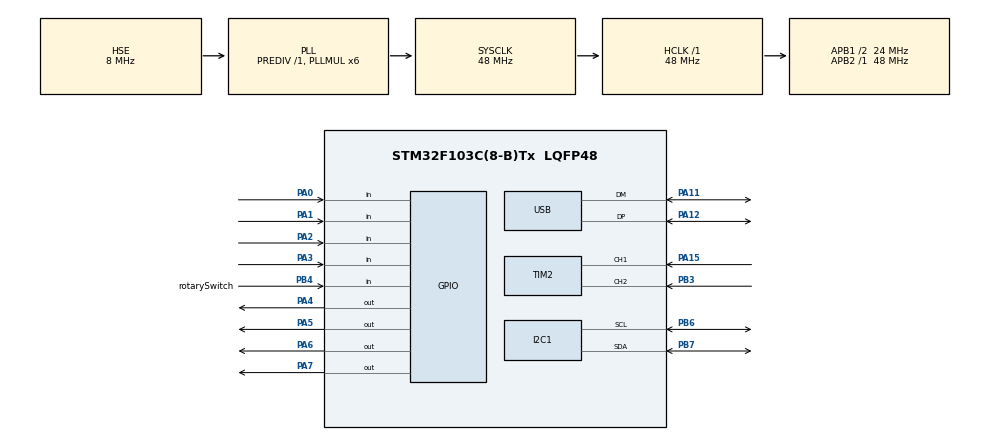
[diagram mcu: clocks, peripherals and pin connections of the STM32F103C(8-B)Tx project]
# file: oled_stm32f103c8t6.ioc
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I2C1.I2C_Mode=I2C_Fast
Mcu.Family=STM32F1
Mcu.Name=STM32F103C(8-B)Tx
Mcu.Package=LQFP48
NVIC.PriorityGroup=NVIC_PRIORITYGROUP_4
NVIC.USB_LP_CAN1_RX0_IRQn=true\:0\:0\:false\:false\:true\:false\:true\:true
PA0-WKUP.GPIO_PuPd=GPIO_PULLUP
PA0-WKUP.Signal=GPIO_Input
PA1.GPIO_PuPd=GPIO_PULLUP
PA1.Signal=GPIO_Input
PA11.Mode=Device
PA11.Signal=USB_DM
PA12.Mode=Device
PA12.Signal=USB_DP
PA13.Mode=Serial_Wire
PA13.Signal=SYS_JTMS-SWDIO
PA14.Mode=Serial_Wire
PA14.Signal=SYS_JTCK-SWCLK
PA15.Signal=S_TIM2_CH1_ETR
PA2.GPIO_PuPd=GPIO_PULLUP
PA2.Signal=GPIO_Input
PA3.GPIO_PuPd=GPIO_PULLUP
PA3.Signal=GPIO_Input
PA4.Signal=GPIO_Output
PA5.Signal=GPIO_Output
PA6.Signal=GPIO_Output
PA7.Signal=GPIO_Output
PB3.Signal=S_TIM2_CH2
PB4.GPIO_Label=rotarySwitch
PB4.GPIO_PuPd=GPIO_NOPULL
PB4.Signal=GPIO_Input
PB6.Mode=I2C
PB6.Signal=I2C1_SCL
PB7.Mode=I2C
PB7.Signal=I2C1_SDA
PD0-OSC_IN.Mode=HSE-External-Oscillator
PD0-OSC_IN.Signal=RCC_OSC_IN
PD1-OSC_OUT.Mode=HSE-External-Oscillator
PD1-OSC_OUT.Signal=RCC_OSC_OUT
ProjectManager.HeapSize=0x200
ProjectManager.StackSize=0x400
ProjectManager.TargetToolchain=STM32CubeIDE
RCC.AHBFreq_Value=48000000
RCC.APB1CLKDivider=RCC_HCLK_DIV2
RCC.APB1Freq_Value=24000000
RCC.APB1TimFreq_Value=48000000
RCC.APB2Freq_Value=48000000
RCC.APB2TimFreq_Value=48000000
RCC.HCLKFreq_Value=48000000
RCC.PLLMUL=RCC_PLL_MUL6
RCC.PLLSourceVirtual=RCC_PLLSOURCE_HSE
RCC.SYSCLKFreq_VALUE=48000000
RCC.SYSCLKSource=RCC_SYSCLKSOURCE_PLLCLK
RCC.USBFreq_Value=48000000
SH.S_TIM2_CH1_ETR.0=TIM2_CH1,Encoder_Interface
SH.S_TIM2_CH2.0=TIM2_CH2,Encoder_Interface
TIM2.EncoderMode=TIM_ENCODERMODE_TI12
TIM2.IC1Filter=10
TIM2.IC2Filter=10
USB_DEVICE.CLASS_NAME_FS=HID
USB_DEVICE.VirtualMode=Hid
USB_DEVICE.VirtualModeFS=Hid_FS
VP_USB_DEVICE_VS_USB_DEVICE_HID_FS.Mode=HID_FS
board=custom

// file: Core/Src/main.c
/* USER CODE BEGIN Header */
/**
 ******************************************************************************
 * @file           : main.c
 * @brief          : Main program body
 ******************************************************************************
 * @attention
 *
 * Copyright (c) 2022 STMicroelectronics.
 * All rights reserved.
 *
 * This software is licensed under terms that can be found in the LICENSE file
 * in the root directory of this software component.
 * If no LICENSE file comes with this software, it is provided AS-IS.
 *
 ******************************************************************************
 */
/* USER CODE END Header */
#include "main.h"
#include "usb_device.h"

/* USER CODE BEGIN Includes */
#include "fonts.h"
#include "ssd1306.h"
#include "test.h"
#include "bitmap.h"
#include "horse_anim.h"
#include <ctype.h>
#include <stdio.h>
#include <stdbool.h>
#include "usbd_hid.h"
/* USER CODE END Includes */

 I2C_HandleTypeDef hi2c1;

TIM_HandleTypeDef htim2;

/* USER CODE BEGIN PV */
I2C_HandleTypeDef hi2c1;
int i;
GPIO_InitTypeDef GPIO_InitStructPrivate = { 0 };
volatile uint16_t adim_sayisi=0;
/* USER CODE END PV */

void SystemClock_Config(void);
static void MX_GPIO_Init(void);
static void MX_I2C1_Init(void);
static void MX_TIM2_Init(void);

/* USER CODE BEGIN 0 */
extern USBD_HandleTypeDef hUsbDeviceFS;
typedef struct
{
	uint8_t MODIFIER;
	uint8_t RESERVED;
	uint8_t KEYCODE1;
	uint8_t KEYCODE2;
	uint8_t KEYCODE3;
	uint8_t KEYCODE4;
	uint8_t KEYCODE5;
	uint8_t KEYCODE6;
} keyboardHID;

keyboardHID keyboardhid = {0,0,0,0,0,0,0,0};

/*************************************** KEYPAD RELATED CODE STARTS HERE *********************************/
#define R1_PORT GPIOA
#define R1_PIN GPIO_PIN_7

#define R2_PORT GPIOA
#define R2_PIN GPIO_PIN_6

#define R3_PORT GPIOA
#define R3_PIN GPIO_PIN_5

#define R4_PORT GPIOA
#define R4_PIN GPIO_PIN_4

#define C1_PORT GPIOA
#define C1_PIN GPIO_PIN_3

#define C2_PORT GPIOA
#define C2_PIN GPIO_PIN_2

#define C3_PORT GPIOA
#define C3_PIN GPIO_PIN_1

#define C4_PORT GPIOA
#define C4_PIN GPIO_PIN_0

uint8_t key;

char read_keypad (void)
{
	/* Make ROW 1 LOW and all other ROWs HIGH */
	HAL_GPIO_WritePin (R1_PORT, R1_PIN, GPIO_PIN_RESET);  //Pull the R1 low
	HAL_GPIO_WritePin (R2_PORT, R2_PIN, GPIO_PIN_SET);  // Pull the R2 High
	HAL_GPIO_WritePin (R3_PORT, R3_PIN, GPIO_PIN_SET);  // Pull the R3 High
	HAL_GPIO_WritePin (R4_PORT, R4_PIN, GPIO_PIN_SET);  // Pull the R4 High

	if (!(HAL_GPIO_ReadPin (C1_PORT, C1_PIN)))   // if the Col 1 is low
	{
		while (!(HAL_GPIO_ReadPin (C1_PORT, C1_PIN)));   // wait till the button is pressed
		return '1';
	}

	if (!(HAL_GPIO_ReadPin (C2_PORT, C2_PIN)))   // if the Col 2 is low
	{
		while (!(HAL_GPIO_ReadPin (C2_PORT, C2_PIN)));   // wait till the button is pressed
		return '2';
	}

	if (!(HAL_GPIO_ReadPin (C3_PORT, C3_PIN)))   // if the Col 3 is low
	{
		while (!(HAL_GPIO_ReadPin (C3_PORT, C3_PIN)));   // wait till the button is pressed
		return '3';
	}

	if (!(HAL_GPIO_ReadPin (C4_PORT, C4_PIN)))   // if the Col 4 is low
	{
		while (!(HAL_GPIO_ReadPin (C4_PORT, C4_PIN)));   // wait till the button is pressed
		return 'A';
	}

	/* Make ROW 2 LOW and all other ROWs HIGH */
	HAL_GPIO_WritePin (R1_PORT, R1_PIN, GPIO_PIN_SET);  //Pull the R1 low
	HAL_GPIO_WritePin (R2_PORT, R2_PIN, GPIO_PIN_RESET);  // Pull the R2 High
	HAL_GPIO_WritePin (R3_PORT, R3_PIN, GPIO_PIN_SET);  // Pull the R3 High
	HAL_GPIO_WritePin (R4_PORT, R4_PIN, GPIO_PIN_SET);  // Pull the R4 High

	if (!(HAL_GPIO_ReadPin (C1_PORT, C1_PIN)))   // if the Col 1 is low
	{
		while (!(HAL_GPIO_ReadPin (C1_PORT, C1_PIN)));   // wait till the button is pressed
		return '4';
	}

	if (!(HAL_GPIO_ReadPin (C2_PORT, C2_PIN)))   // if the Col 2 is low
	{
		while (!(HAL_GPIO_ReadPin (C2_PORT, C2_PIN)));   // wait till the button is pressed
		return '5';
	}

	if (!(HAL_GPIO_ReadPin (C3_PORT, C3_PIN)))   // if the Col 3 is low
	{
		while (!(HAL_GPIO_ReadPin (C3_PORT, C3_PIN)));   // wait till the button is pressed
		return '6';
	}

	if (!(HAL_GPIO_ReadPin (C4_PORT, C4_PIN)))   // if the Col 4 is low
	{
		while (!(HAL_GPIO_ReadPin (C4_PORT, C4_PIN)));   // wait till the button is pressed
		return 'B';
	}

	/* Make ROW 3 LOW and all other ROWs HIGH */
	HAL_GPIO_WritePin (R1_PORT, R1_PIN, GPIO_PIN_SET);  //Pull the R1 low
	HAL_GPIO_WritePin (R2_PORT, R2_PIN, GPIO_PIN_SET);  // Pull the R2 High
	HAL_GPIO_WritePin (R3_PORT, R3_PIN, GPIO_PIN_RESET);  // Pull the R3 High
	HAL_GPIO_WritePin (R4_PORT, R4_PIN, GPIO_PIN_SET);  // Pull the R4 High

	if (!(HAL_GPIO_ReadPin (C1_PORT, C1_PIN)))   // if the Col 1 is low
	{
		while (!(HAL_GPIO_ReadPin (C1_PORT, C1_PIN)));   // wait till the button is pressed
		return '7';
	}

	if (!(HAL_GPIO_ReadPin (C2_PORT, C2_PIN)))   // if the Col 2 is low
	{
		while (!(HAL_GPIO_ReadPin (C2_PORT, C2_PIN)));   // wait till the button is pressed
		return '8';
	}

	if (!(HAL_GPIO_ReadPin (C3_PORT, C3_PIN)))   // if the Col 3 is low
	{
		while (!(HAL_GPIO_ReadPin (C3_PORT, C3_PIN)));   // wait till the button is pressed
		return '9';
	}

	if (!(HAL_GPIO_ReadPin (C4_PORT, C4_PIN)))   // if the Col 4 is low
	{
		while (!(HAL_GPIO_ReadPin (C4_PORT, C4_PIN)));   // wait till the button is pressed
		return 'C';
	}

	/* Make ROW 4 LOW and all other ROWs HIGH */
	HAL_GPIO_WritePin (R1_PORT, R1_PIN, GPIO_PIN_SET);  //Pull the R1 low
	HAL_GPIO_WritePin (R2_PORT, R2_PIN, GPIO_PIN_SET);  // Pull the R2 High
	HAL_GPIO_WritePin (R3_PORT, R3_PIN, GPIO_PIN_SET);  // Pull the R3 High
	HAL_GPIO_WritePin (R4_PORT, R4_PIN, GPIO_PIN_RESET);  // Pull the R4 High

	if (!(HAL_GPIO_ReadPin (C1_PORT, C1_PIN)))   // if the Col 1 is low
	{
		while (!(HAL_GPIO_ReadPin (C1_PORT, C1_PIN)));   // wait till the button is pressed
		return '*';
	}

	if (!(HAL_GPIO_ReadPin (C2_PORT, C2_PIN)))   // if the Col 2 is low
	{
		while (!(HAL_GPIO_ReadPin (C2_PORT, C2_PIN)));   // wait till the button is pressed
		return '0';
	}

	if (!(HAL_GPIO_ReadPin (C3_PORT, C3_PIN)))   // if the Col 3 is low
	{
		while (!(HAL_GPIO_ReadPin (C3_PORT, C3_PIN)));   // wait till the button is pressed
		return '#';
	}

	if (!(HAL_GPIO_ReadPin (C4_PORT, C4_PIN)))   // if the Col 4 is low
	{
		while (!(HAL_GPIO_ReadPin (C4_PORT, C4_PIN)));   // wait till the button is pressed
		return 'D';
	}
	else return 'x';
}

/* USER CODE END 0 */

int main(void)
{

  /* MCU Configuration--------------------------------------------------------*/

  /* Reset of all peripherals, Initializes the Flash interface and the Systick. */
  HAL_Init();

  /* Configure the system clock */
  SystemClock_Config();

  /* Initialize all configured peripherals */
  MX_GPIO_Init();
  MX_I2C1_Init();
  MX_USB_DEVICE_Init();
  MX_TIM2_Init();
  /* USER CODE BEGIN 2 */
  HAL_TIM_Encoder_Start(&htim2,TIM_CHANNEL_ALL);

//  for(i=100;i<255;i++){
//
//  	if(HAL_I2C_IsDeviceReady(&hi2c1,i,1,10000)==HAL_OK)
//  		break;
//  }

	SSD1306_Init(); // initialize the display
	SSD1306_GotoXY(0, 0);

	SSD1306_Clear();

	SSD1306_DrawBitmap(0, 0, logo, 128, 64, 1);
	SSD1306_UpdateScreen();

	HAL_Delay(5000);
	SSD1306_Clear();
  /* USER CODE END 2 */

  /* Infinite loop */
	while (1) {

    /* USER CODE BEGIN 3 */
		if(HAL_GPIO_ReadPin(rotarySwitch_GPIO_Port, rotarySwitch_Pin)==0)
			{
			adim_sayisi=0;
			}

		adim_sayisi= __HAL_TIM_GET_COUNTER(&htim2)>>2;

		key = read_keypad ();

			  if (key != 0x01){

			  if (key == '1')  keyboardhid.KEYCODE1 = 0x1E;
			  if (key == '2')  keyboardhid.KEYCODE1 = 0x1F;
			  if (key == '3')  keyboardhid.KEYCODE1 = 0x20;
			  if (key == '4')  keyboardhid.KEYCODE1 = 0x21;
			  if (key == '5')  keyboardhid.KEYCODE1 = 0x22;
			  if (key == '6')  keyboardhid.KEYCODE1 = 0x23;
			  if (key == '7')  keyboardhid.KEYCODE1 = 0x24;
			  if (key == '8')  keyboardhid.KEYCODE1 = 0x25;
			  if (key == '9')  keyboardhid.KEYCODE1 = 0x26;
			  if (key == '0')  keyboardhid.KEYCODE1 = 0x27;

			  if (key == 'A') //0x09, 0xE2, // Usage (Mute)
			  {
				  keyboardhid.MODIFIER = 0x02;  // left shift pressed
				 keyboardhid.KEYCODE1 =0x04 ;  // press 'a'
			  }
			  if (key == 'B')
			  {
				  keyboardhid.MODIFIER = 0x02;  // left shift pressed
				  keyboardhid.KEYCODE1 = 0x05;  // press 'a'
			  }
			  if (key == 'C')
			  {
				  keyboardhid.MODIFIER = 0x02;  // left shift pressed
				  keyboardhid.KEYCODE1 = 0x06;  // press 'a'
			  }
			  if (key == 'D')
			  {
				  keyboardhid.MODIFIER = 0x02;  // left shift pressed
				  keyboardhid.KEYCODE1 = 0x07;  // press 'a'
			  }

			  if (key == '*')
			  {
				  keyboardhid.MODIFIER = 0x02;  // left shift pressed
				  keyboardhid.KEYCODE1 = 0x25;  // press '*'
			  }

			  if (key == '#')
			  {
				  keyboardhid.MODIFIER = 0x02;  // left shift pressed
				  keyboardhid.KEYCODE1 = 0x20;  // press '#'
			  }

			  USBD_HID_SendReport(&hUsbDeviceFS, &keyboardhid, sizeof (keyboardhid));
			  HAL_Delay (50);
			  keyboardhid.MODIFIER = 0x00;  // shift release
			  keyboardhid.KEYCODE1 = 0x00;  // release key
			  USBD_HID_SendReport(&hUsbDeviceFS, &keyboardhid, sizeof (keyboardhid));
			  }

		//SSD1306_Clear();
		SSD1306_DrawLine(30, 0, 30, 64, 1);   // dik ayırma çizgisi
		SSD1306_DrawLine(30, 32, 128, 32, 1); // yatay ayırma çizgisi
		SSD1306_DrawBitmap(0, 32, MouseIcon, 28, 28, 1);
		SSD1306_DrawBitmap(30, 0, OrbitIcon, 24, 24, 1);
		SSD1306_GotoXY (0, 0);
		char mesaj[1];
		sprintf(mesaj,"%c",key);
		SSD1306_Puts(mesaj, &Font_11x18, 1);
		SSD1306_GotoXY (50, 0);
		char mesaj2[5];
				sprintf(mesaj2,"%d",adim_sayisi);
				SSD1306_Puts(mesaj2, &Font_11x18, 1);

//SSD1306_Puts(Char key,FontDef_t* Font_16x26, 1);
		SSD1306_UpdateScreen();

	}
  /* USER CODE END 3 */
}

void SystemClock_Config(void)
{
  RCC_OscInitTypeDef RCC_OscInitStruct = {0};
  RCC_ClkInitTypeDef RCC_ClkInitStruct = {0};
  RCC_PeriphCLKInitTypeDef PeriphClkInit = {0};

  /** Initializes the RCC Oscillators according to the specified parameters
  * in the RCC_OscInitTypeDef structure.
  */
  RCC_OscInitStruct.OscillatorType = RCC_OSCILLATORTYPE_HSE;
  RCC_OscInitStruct.HSEState = RCC_HSE_ON;
  RCC_OscInitStruct.HSEPredivValue = RCC_HSE_PREDIV_DIV1;
  RCC_OscInitStruct.HSIState = RCC_HSI_ON;
  RCC_OscInitStruct.PLL.PLLState = RCC_PLL_ON;
  RCC_OscInitStruct.PLL.PLLSource = RCC_PLLSOURCE_HSE;
  RCC_OscInitStruct.PLL.PLLMUL = RCC_PLL_MUL6;
  if (HAL_RCC_OscConfig(&RCC_OscInitStruct) != HAL_OK)
  {
    Error_Handler();
  }

  /** Initializes the CPU, AHB and APB buses clocks
  */
  RCC_ClkInitStruct.ClockType = RCC_CLOCKTYPE_HCLK|RCC_CLOCKTYPE_SYSCLK
                              |RCC_CLOCKTYPE_PCLK1|RCC_CLOCKTYPE_PCLK2;
  RCC_ClkInitStruct.SYSCLKSource = RCC_SYSCLKSOURCE_PLLCLK;
  RCC_ClkInitStruct.AHBCLKDivider = RCC_SYSCLK_DIV1;
  RCC_ClkInitStruct.APB1CLKDivider = RCC_HCLK_DIV2;
  RCC_ClkInitStruct.APB2CLKDivider = RCC_HCLK_DIV1;

  if (HAL_RCC_ClockConfig(&RCC_ClkInitStruct, FLASH_LATENCY_1) != HAL_OK)
  {
    Error_Handler();
  }
  PeriphClkInit.PeriphClockSelection = RCC_PERIPHCLK_USB;
  PeriphClkInit.UsbClockSelection = RCC_USBCLKSOURCE_PLL;
  if (HAL_RCCEx_PeriphCLKConfig(&PeriphClkInit) != HAL_OK)
  {
    Error_Handler();
  }
}

static void MX_I2C1_Init(void)
{

  hi2c1.Instance = I2C1;
  hi2c1.Init.ClockSpeed = 400000;
  hi2c1.Init.DutyCycle = I2C_DUTYCYCLE_2;
  hi2c1.Init.OwnAddress1 = 0;
  hi2c1.Init.AddressingMode = I2C_ADDRESSINGMODE_7BIT;
  hi2c1.Init.DualAddressMode = I2C_DUALADDRESS_DISABLE;
  hi2c1.Init.OwnAddress2 = 0;
  hi2c1.Init.GeneralCallMode = I2C_GENERALCALL_DISABLE;
  hi2c1.Init.NoStretchMode = I2C_NOSTRETCH_DISABLE;
  if (HAL_I2C_Init(&hi2c1) != HAL_OK)
  {
    Error_Handler();
  }

}

static void MX_TIM2_Init(void)
{

  TIM_Encoder_InitTypeDef sConfig = {0};
  TIM_MasterConfigTypeDef sMasterConfig = {0};

  htim2.Instance = TIM2;
  htim2.Init.Prescaler = 0;
  htim2.Init.CounterMode = TIM_COUNTERMODE_UP;
  htim2.Init.Period = 10;
  htim2.Init.ClockDivision = TIM_CLOCKDIVISION_DIV1;
  htim2.Init.AutoReloadPreload = TIM_AUTORELOAD_PRELOAD_DISABLE;
  sConfig.EncoderMode = TIM_ENCODERMODE_TI12;
  sConfig.IC1Polarity = TIM_ICPOLARITY_RISING;
  sConfig.IC1Selection = TIM_ICSELECTION_DIRECTTI;
  sConfig.IC1Prescaler = TIM_ICPSC_DIV1;
  sConfig.IC1Filter = 10;
  sConfig.IC2Polarity = TIM_ICPOLARITY_RISING;
  sConfig.IC2Selection = TIM_ICSELECTION_DIRECTTI;
  sConfig.IC2Prescaler = TIM_ICPSC_DIV1;
  sConfig.IC2Filter = 10;
  if (HAL_TIM_Encoder_Init(&htim2, &sConfig) != HAL_OK)
  {
    Error_Handler();
  }
  sMasterConfig.MasterOutputTrigger = TIM_TRGO_RESET;
  sMasterConfig.MasterSlaveMode = TIM_MASTERSLAVEMODE_DISABLE;
  if (HAL_TIMEx_MasterConfigSynchronization(&htim2, &sMasterConfig) != HAL_OK)
  {
    Error_Handler();
  }

}

static void MX_GPIO_Init(void)
{
  GPIO_InitTypeDef GPIO_InitStruct = {0};

  /* GPIO Ports Clock Enable */
  __HAL_RCC_GPIOD_CLK_ENABLE();
  __HAL_RCC_GPIOA_CLK_ENABLE();
  __HAL_RCC_GPIOB_CLK_ENABLE();

  /*Configure GPIO pin Output Level */
  HAL_GPIO_WritePin(GPIOA, GPIO_PIN_4|GPIO_PIN_5|GPIO_PIN_6|GPIO_PIN_7, GPIO_PIN_RESET);

  /*Configure GPIO pins : PA0 PA1 PA2 PA3 */
  GPIO_InitStruct.Pin = GPIO_PIN_0|GPIO_PIN_1|GPIO_PIN_2|GPIO_PIN_3;
  GPIO_InitStruct.Mode = GPIO_MODE_INPUT;
  GPIO_InitStruct.Pull = GPIO_PULLUP;
  HAL_GPIO_Init(GPIOA, &GPIO_InitStruct);

  /*Configure GPIO pins : PA4 PA5 PA6 PA7 */
  GPIO_InitStruct.Pin = GPIO_PIN_4|GPIO_PIN_5|GPIO_PIN_6|GPIO_PIN_7;
  GPIO_InitStruct.Mode = GPIO_MODE_OUTPUT_PP;
  GPIO_InitStruct.Pull = GPIO_NOPULL;
  GPIO_InitStruct.Speed = GPIO_SPEED_FREQ_LOW;
  HAL_GPIO_Init(GPIOA, &GPIO_InitStruct);

  /*Configure GPIO pin : rotarySwitch_Pin */
  GPIO_InitStruct.Pin = rotarySwitch_Pin;
  GPIO_InitStruct.Mode = GPIO_MODE_INPUT;
  GPIO_InitStruct.Pull = GPIO_NOPULL;
  HAL_GPIO_Init(rotarySwitch_GPIO_Port, &GPIO_InitStruct);

}

void Error_Handler(void)
{
	__disable_irq();
	while (1) {
	}
}
